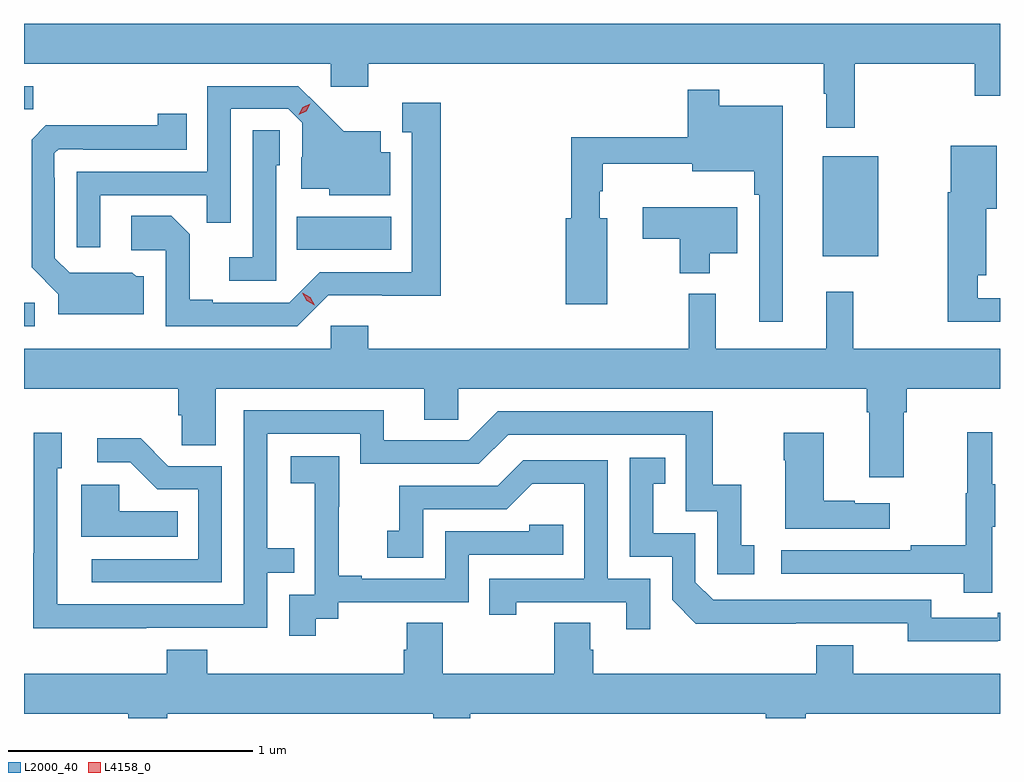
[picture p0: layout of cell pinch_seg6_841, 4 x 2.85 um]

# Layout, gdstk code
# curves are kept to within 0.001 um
import gdstk
lib = gdstk.Library(unit=1e-6, precision=1e-09)
def R(c, l, rs):  # rectangles x0, y0, x1, y1
    for r in rs: c.add(gdstk.rectangle(r[:2], r[2:], *l))
def P(c, l, *ps):  # polygons
    for p in ps: c.add(gdstk.Polygon(p, *l))
L2000_40 = (2000, 40)
L4158_0 = (4158, 0)

pinch_seg6_841 = lib.new_cell('pinch_seg6_841')
R(pinch_seg6_841, L2000_40, [(154.01,920.952,154.054,921.048), (157.283,921.239,157.51,921.649), (155.128,921.266,155.515,921.4), (154.01,921.841,154.047,921.936)])
P(pinch_seg6_841, L2000_40, [(157.415,922.028),(157.907,922.028),(157.907,921.897),(158.01,921.897),(158.01,922.192),(154.01,922.192),(154.01,922.028),(155.268,922.028),(155.268,921.933),(155.42,921.933),(155.42,922.028),(157.287,922.028),(157.287,921.905),(157.298,921.905),(157.298,921.765),(157.415,921.765)],
  [(154.323,921.489),(154.759,921.489),(154.759,921.376),(154.857,921.376),(154.857,921.843),(155.094,921.843),(155.151,921.786),(155.151,921.644),(155.147,921.644),(155.147,921.515),(155.262,921.515),(155.262,921.488),(155.512,921.488),(155.512,921.664),(155.473,921.664),(155.473,921.751),(155.321,921.751),(155.134,921.936),(154.761,921.936),(154.761,921.585),(154.227,921.585),(154.227,921.276),(154.323,921.276)],
  [(157.12,921.856),(156.859,921.856),(156.859,921.922),(156.73,921.922),(156.73,921.727),(156.253,921.727),(156.253,921.394),(156.23,921.394),(156.23,921.042),(156.4,921.042),(156.4,921.394),(156.37,921.394),(156.37,921.506),(156.382,921.506),(156.382,921.617),(156.749,921.617),(156.749,921.587),(157.003,921.587),(157.003,921.491),(157.023,921.491),(157.023,920.97),(157.12,920.97)],
  [(155.256,921.078),(155.719,921.077),(155.719,921.868),(155.561,921.868),(155.561,921.747),(155.6,921.747),(155.6,921.174),(155.223,921.174),(155.097,921.048),(154.783,921.048),(154.783,921.061),(154.689,921.061),(154.689,921.328),(154.613,921.404),(154.449,921.404),(154.449,921.264),(154.59,921.264),(154.59,920.952),(155.13,920.952)],
  [(154.501,921.156),(154.47,921.156),(154.454,921.172),(154.197,921.171),(154.137,921.231),(154.137,921.56),(154.134,921.56),(154.134,921.66),(154.152,921.678),(154.252,921.678),(154.252,921.675),(154.676,921.675),(154.676,921.823),(154.558,921.823),(154.558,921.776),(154.1,921.775),(154.041,921.716),(154.041,921.194),(154.151,921.084),(154.151,921.002),(154.501,921.002)],
  [(155.043,921.612),(155.058,921.612),(155.058,921.755),(154.947,921.755),(154.947,921.235),(154.851,921.235),(154.851,921.138),(155.043,921.138)],
  [(158.01,921.066),(157.918,921.066),(157.918,921.161),(157.954,921.161),(157.954,921.434),(157.996,921.434),(157.996,921.691),(157.808,921.691),(157.808,921.501),(157.796,921.501),(157.796,920.97),(158.01,920.97)],
  [(156.82,921.251),(156.934,921.251),(156.934,921.439),(156.546,921.439),(156.546,921.31),(156.698,921.31),(156.698,921.17),(156.82,921.17)],
  [(157.615,920.6),(157.628,920.6),(157.628,920.696),(158.01,920.696),(158.01,920.86),(157.408,920.86),(157.408,921.094),(157.298,921.094),(157.298,920.86),(156.845,920.86),(156.845,921.085),(156.735,921.085),(156.735,920.86),(155.42,920.86),(155.42,920.953),(155.268,920.953),(155.268,920.86),(154.01,920.86),(154.01,920.696),(154.643,920.696),(154.643,920.587),(154.656,920.587),(154.656,920.464),(154.795,920.464),(154.795,920.696),(155.651,920.696),(155.651,920.569),(155.79,920.569),(155.79,920.696),(157.463,920.696),(157.463,920.6),(157.475,920.6),(157.475,920.334),(157.615,920.334)],
  [(154.511,919.716),(155.007,919.716),(155.007,919.941),(155.117,919.941),(155.117,920.042),(155.007,920.042),(155.007,920.511),(155.388,920.511),(155.388,920.388),(155.874,920.388),(155.994,920.508),(156.723,920.508),(156.723,920.193),(156.852,920.193),(156.852,919.935),(157.003,919.935),(157.003,920.055),(156.95,920.055),(156.95,920.302),(156.832,920.302),(156.832,920.604),(155.952,920.604),(155.832,920.484),(155.485,920.484),(155.485,920.607),(154.911,920.607),(154.911,919.812),(154.147,919.812),(154.146,920.37),(154.165,920.37),(154.165,920.515),(154.05,920.515),(154.05,920.021),(154.048,920.021),(154.048,919.715)],
  [(157.979,920.131),(157.99,920.131),(157.99,920.305),(157.979,920.305),(157.979,920.518),(157.876,920.518),(157.876,920.268),(157.869,920.268),(157.869,920.054),(157.645,920.054),(157.645,920.034),(157.113,920.034),(157.113,919.938),(157.861,919.938),(157.861,919.86),(157.979,919.86)],
  [(157.558,920.227),(157.415,920.227),(157.415,920.237),(157.288,920.237),(157.288,920.515),(157.123,920.515),(157.123,920.402),(157.13,920.402),(157.13,920.123),(157.558,920.123)],
  [(154.821,920.379),(154.602,920.379),(154.489,920.492),(154.311,920.492),(154.311,920.394),(154.445,920.394),(154.556,920.283),(154.725,920.283),(154.725,919.998),(154.287,919.998),(154.287,919.902),(154.821,919.902)],
  [(155.206,919.753),(155.298,919.753),(155.298,919.821),(155.832,919.821),(155.832,920.016),(156.221,920.016),(156.221,920.139),(156.081,920.139),(156.081,920.112),(155.736,920.112),(155.736,919.917),(155.395,919.917),(155.395,919.93),(155.3,919.93),(155.3,920.213),(155.301,920.213),(155.301,920.419),(155.103,920.419),(155.103,920.309),(155.201,920.309),(155.201,920.081),(155.202,920.081),(155.202,919.851),(155.097,919.851),(155.097,919.683),(155.206,919.683)],
  [(158,919.662),(158.01,919.662),(158.01,919.778),(158,919.778),(158,919.758),(157.728,919.758),(157.728,919.83),(156.834,919.83),(156.762,919.902),(156.762,920.103),(156.589,920.103),(156.589,920.307),(156.638,920.307),(156.638,920.413),(156.492,920.413),(156.492,920.007),(156.666,920.007),(156.666,919.83),(156.764,919.733),(157.632,919.734),(157.632,919.661)],
  [(156.576,919.917),(156.402,919.917),(156.402,920.403),(156.056,920.403),(155.951,920.298),(155.548,920.298),(155.548,920.113),(155.499,920.113),(155.499,920.004),(155.646,920.004),(155.646,920.202),(155.988,920.202),(156.092,920.306),(156.306,920.306),(156.306,919.917),(155.917,919.917),(155.917,919.77),(156.028,919.77),(156.028,919.821),(156.479,919.821),(156.479,919.71),(156.576,919.71)],
  [(154.64,920.194),(154.401,920.194),(154.401,920.302),(154.244,920.302),(154.244,920.09),(154.64,920.09)],
  [(154.598,919.364),(155.687,919.364),(155.687,919.345),(155.838,919.345),(155.838,919.364),(157.049,919.364),(157.049,919.345),(157.214,919.345),(157.214,919.364),(158.01,919.364),(158.01,919.528),(157.408,919.528),(157.408,919.645),(157.256,919.645),(157.256,919.528),(156.344,919.528),(156.344,919.626),(156.331,919.626),(156.331,919.736),(156.184,919.736),(156.184,919.528),(155.727,919.528),(155.727,919.736),(155.579,919.736),(155.579,919.626),(155.567,919.626),(155.567,919.528),(154.76,919.528),(154.76,919.627),(154.595,919.627),(154.595,919.528),(154.01,919.528),(154.01,919.364),(154.438,919.364),(154.438,919.345),(154.598,919.345)])
P(pinch_seg6_841, L4158_0, [(155.201,921.037),(155.169,921.056),(155.151,921.089),(155.151,921.089),(155.151,921.089),(155.183,921.07),(155.201,921.038),(155.201,921.037)],
  [(155.135,921.819),(155.135,921.819),(155.152,921.849),(155.183,921.864),(155.183,921.864),(155.183,921.863),(155.166,921.834),(155.135,921.819)])

lib.write_gds('pinch_seg6_841.gds')
